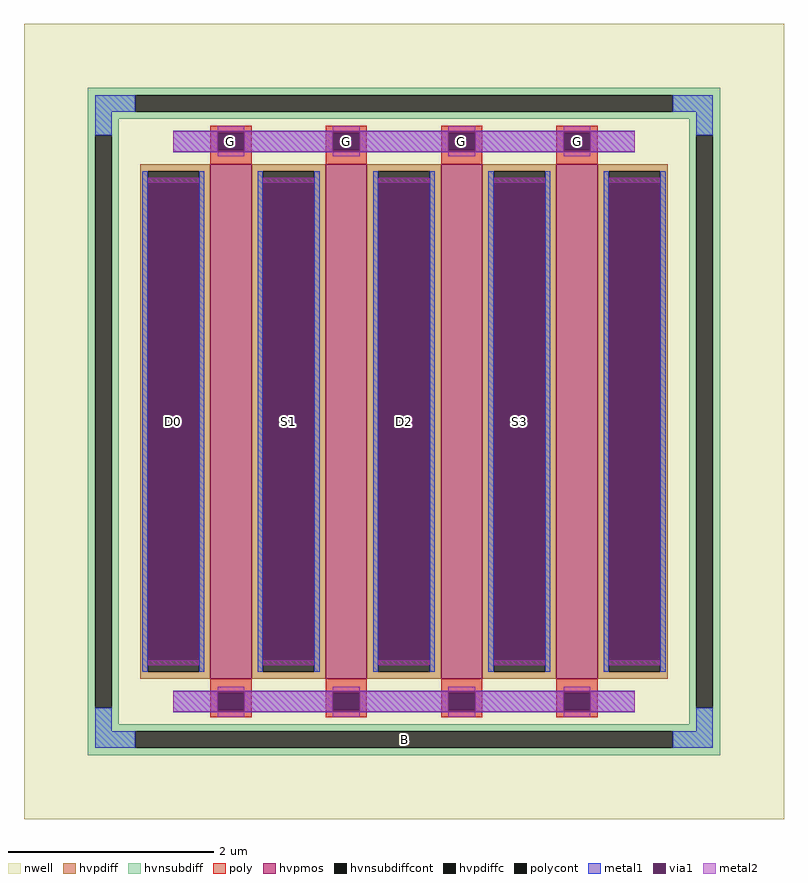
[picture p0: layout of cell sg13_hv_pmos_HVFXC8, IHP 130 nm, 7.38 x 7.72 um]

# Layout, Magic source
magic
tech ihp-sg13cmos5l
magscale 1 2
<< nwell >>
rect -738 -772 738 772
<< hvpmos >>
rect -376 -500 -296 500
rect -152 -500 -72 500
rect 72 -500 152 500
rect 296 -500 376 500
<< hvpdiff >>
rect -512 486 -376 500
rect -512 -486 -498 486
rect -398 -486 -376 486
rect -512 -500 -376 -486
rect -296 486 -152 500
rect -296 -486 -274 486
rect -174 -486 -152 486
rect -296 -500 -152 -486
rect -72 486 72 500
rect -72 -486 -50 486
rect 50 -486 72 486
rect -72 -500 72 -486
rect 152 486 296 500
rect 152 -486 174 486
rect 274 -486 296 486
rect 152 -500 296 -486
rect 376 486 512 500
rect 376 -486 398 486
rect 498 -486 512 486
rect 376 -500 512 -486
<< hvpdiffc >>
rect -498 -486 -398 486
rect -274 -486 -174 486
rect -50 -486 50 486
rect 174 -486 274 486
rect 398 -486 498 486
<< hvnsubdiff >>
rect -614 634 614 648
rect -614 602 -522 634
rect 522 602 614 634
rect -614 588 614 602
rect -614 556 -554 588
rect -614 -556 -600 556
rect -568 -556 -554 556
rect 554 556 614 588
rect -614 -588 -554 -556
rect 554 -556 568 556
rect 600 -556 614 556
rect 554 -588 614 -556
rect -614 -602 614 -588
rect -614 -634 -522 -602
rect 522 -634 614 -602
rect -614 -648 614 -634
<< hvnsubdiffcont >>
rect -522 602 522 634
rect -600 -556 -568 556
rect 568 -556 600 556
rect -522 -634 522 -602
<< poly >>
rect -376 560 -296 574
rect -376 528 -362 560
rect -310 528 -296 560
rect -376 500 -296 528
rect -152 560 -72 574
rect -152 528 -138 560
rect -86 528 -72 560
rect -152 500 -72 528
rect 72 560 152 574
rect 72 528 86 560
rect 138 528 152 560
rect 72 500 152 528
rect 296 560 376 574
rect 296 528 310 560
rect 362 528 376 560
rect 296 500 376 528
rect -376 -528 -296 -500
rect -376 -560 -362 -528
rect -310 -560 -296 -528
rect -376 -574 -296 -560
rect -152 -528 -72 -500
rect -152 -560 -138 -528
rect -86 -560 -72 -528
rect -152 -574 -72 -560
rect 72 -528 152 -500
rect 72 -560 86 -528
rect 138 -560 152 -528
rect 72 -574 152 -560
rect 296 -528 376 -500
rect 296 -560 310 -528
rect 362 -560 376 -528
rect 296 -574 376 -560
<< polycont >>
rect -362 528 -310 560
rect -138 528 -86 560
rect 86 528 138 560
rect 310 528 362 560
rect -362 -560 -310 -528
rect -138 -560 -86 -528
rect 86 -560 138 -528
rect 310 -560 362 -528
<< metal1 >>
rect -600 602 -522 634
rect 522 602 600 634
rect -600 556 -568 602
rect -448 564 448 565
rect -448 524 -362 564
rect -310 524 -138 564
rect -86 524 86 564
rect 138 524 310 564
rect 362 524 448 564
rect -448 523 448 524
rect 568 556 600 602
rect -508 -486 -498 486
rect -398 -486 -388 486
rect -284 -486 -274 486
rect -174 -486 -164 486
rect -60 -486 -50 486
rect 50 -486 60 486
rect 164 -486 174 486
rect 274 -486 284 486
rect 388 -486 398 486
rect 498 -486 508 486
rect -600 -602 -568 -556
rect -448 -524 448 -523
rect -448 -564 -362 -524
rect -310 -564 -138 -524
rect -86 -564 86 -524
rect 138 -564 310 -524
rect 362 -564 448 -524
rect -448 -565 448 -564
rect 568 -602 600 -556
rect -600 -634 -522 -602
rect 522 -634 600 -602
<< via1 >>
rect -362 560 -310 564
rect -362 528 -310 560
rect -362 524 -310 528
rect -138 560 -86 564
rect -138 528 -86 560
rect -138 524 -86 528
rect 86 560 138 564
rect 86 528 138 560
rect 86 524 138 528
rect 310 560 362 564
rect 310 528 362 560
rect 310 524 362 528
rect -497 -464 -399 464
rect -273 -464 -175 464
rect -49 -464 49 464
rect 175 -464 273 464
rect 399 -464 497 464
rect -362 -528 -310 -524
rect -362 -560 -310 -528
rect -362 -564 -310 -560
rect -138 -528 -86 -524
rect -138 -560 -86 -528
rect -138 -564 -86 -560
rect 86 -528 138 -524
rect 86 -560 138 -528
rect 86 -564 138 -560
rect 310 -528 362 -524
rect 310 -560 362 -528
rect 310 -564 362 -560
<< metal2 >>
rect -362 564 -310 573
rect -138 564 -86 573
rect 86 564 138 573
rect 310 564 362 573
rect -448 524 -362 564
rect -310 524 -138 564
rect -86 524 86 564
rect 138 524 310 564
rect 362 524 448 564
rect -362 515 -310 524
rect -138 515 -86 524
rect 86 515 138 524
rect 310 515 362 524
rect -497 464 -399 473
rect -497 -473 -399 -464
rect -273 464 -175 473
rect -273 -473 -175 -464
rect -49 464 49 473
rect -49 -473 49 -464
rect 175 464 273 473
rect 175 -473 273 -464
rect 399 464 497 473
rect 399 -473 497 -464
rect -362 -524 -310 -515
rect -138 -524 -86 -515
rect 86 -524 138 -515
rect 310 -524 362 -515
rect -448 -564 -362 -524
rect -310 -564 -138 -524
rect -86 -564 86 -524
rect 138 -564 310 -524
rect 362 -564 448 -524
rect -362 -573 -310 -564
rect -138 -573 -86 -564
rect 86 -573 138 -564
rect 310 -573 362 -564
<< labels >>
rlabel hvnsubdiffcont 0 -618 0 -618 0 B
port 1 nsew
rlabel hvpdiffc -448 0 -448 0 0 D0
port 2 nsew
rlabel polycont -336 544 -336 544 0 G
port 3 nsew
rlabel hvpdiffc -224 0 -224 0 0 S1
port 4 nsew
rlabel polycont -112 544 -112 544 0 G
port 3 nsew
rlabel hvpdiffc 0 0 0 0 0 D2
port 5 nsew
rlabel polycont 112 544 112 544 0 G
port 3 nsew
rlabel hvpdiffc 224 0 224 0 0 S3
port 6 nsew
rlabel polycont 336 544 336 544 0 G
port 3 nsew
<< properties >>
string FIXED_BBOX -584 -618 584 618
string gencell sg13_hv_pmos
string library sg13cmos5l
string parameters w 5 l 0.4 m 1 ng 4 diffcov 100 polycov 100 guard 1 glc 1 grc 1 gtc 1 gbc 1 tbcov 100 rlcov 100 topc 1 botc 1 poverlap 1 doverlap 1 lmin 0.4 wmin 0.15 class mosfet compatible {sg13_lv_pmos sg13_hv_pmos} full_metal 1 conn_gates 1 gate_ring 0 ccols 2 viasrc 100 viadrn 100 viagate 100 viagb 0 viagr 0 viagl 0 viagt 0 doports 1
<< end >>
